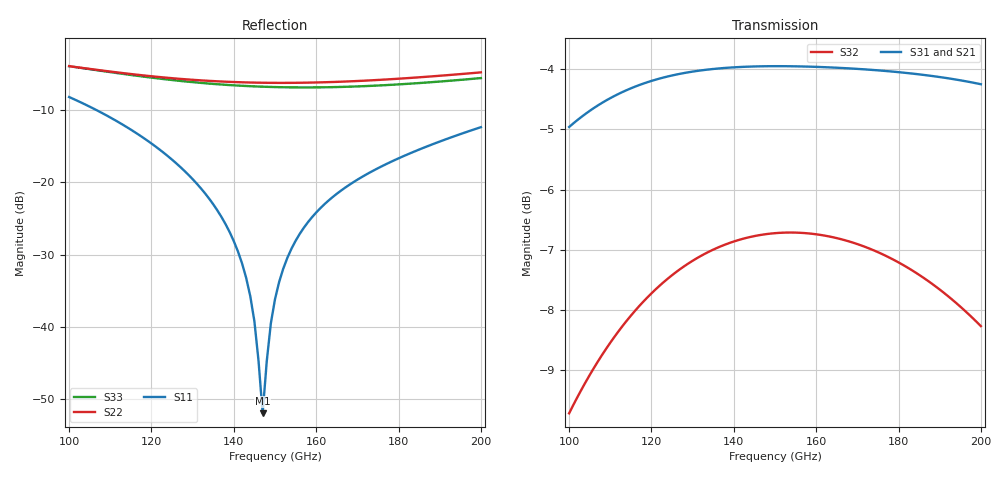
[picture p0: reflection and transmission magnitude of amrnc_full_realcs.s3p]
! Created with skrf 2.1.0 (http://scikit-rf.org).
# GHz S DB R 50.0
! Port[1] = P1
! Port[2] = P2
! Port[3] = P3
!freq dBS11 angS11 dBS12 angS12 dBS13 angS13
! dBS21 angS21 dBS22 angS22 dBS23 angS23
! dBS31 angS31 dBS32 angS32 dBS33 angS33
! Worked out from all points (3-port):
!   101 points, 100 GHz to 200 GHz, reference 50 ohm
!   strongest paths, dB at 100 GHz, 125 GHz, 150 GHz, 175 GHz, 200 GHz:
!     S31: -5.0, -4.1, -4.0, -4.0, -4.3
!     S21: -4.7, -4.0, -4.0, -4.2, -4.6
!     S32: -9.7, -7.4, -6.7, -7.0, -8.3
!   lowest |S11| = -52.0 dB at 147 GHz (marker M1), VSWR 1.01, Z = 50.2 - j0.0506 ohm
!   |S11| at or under -10 dB: 106.5 GHz to end of sweep
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100  -8.22 129.6  -4.73 -10.5  -4.96 165.9
     -4.73 -10.5  -3.95 60.1  -9.72 90.9
     -4.96 165.9  -9.72 90.9  -3.95 50.5
123  -15.94 99.0  -4.02 -45.1  -4.14 129.3
     -4.02 -45.1  -5.51 40.1  -7.54 56.9
     -4.14 129.3  -7.54 56.9  -5.74 27.4
137  -24.81 84.1  -3.94 -64.0  -3.99 109.3
     -3.94 -64.0  -6.07 29.9  -6.94 38.1
     -3.99 109.3  -6.94 38.1  -6.49 15.9
144  -35.77 72.4  -3.95 -72.9  -3.96 99.9
     -3.95 -72.9  -6.21 24.9  -6.79 29.2
     -3.96 99.9  -6.79 29.2  -6.72 10.6
147  -51.96 -11.5  -3.96 -76.7  -3.95 95.9
     -3.96 -76.7  -6.25 22.8  -6.75 25.4
     -3.95 95.9  -6.75 25.4  -6.79 8.3
148  -44.74 -75.5  -3.96 -77.9  -3.95 94.6
     -3.96 -77.9  -6.25 22.1  -6.74 24.1
     -3.95 94.6  -6.74 24.1  -6.81 7.6
150  -36.18 -93.3  -3.97 -80.4  -3.95 92.0
     -3.97 -80.4  -6.26 20.7  -6.72 21.7
     -3.95 92.0  -6.72 21.7  -6.84 6.1
155  -28.11 -101.9  -4.00 -86.5  -3.95 85.5
     -4.00 -86.5  -6.25 17.0  -6.72 15.6
     -3.95 85.5  -6.72 15.6  -6.89 2.3
164  -22.06 -108.4  -4.07 -97.4  -3.97 74.0
     -4.07 -97.4  -6.14 10.3  -6.79 4.7
     -3.97 74.0  -6.79 4.7  -6.85 -4.5
200  -12.39 -129.6  -4.63 -140.7  -4.25 28.6
     -4.63 -140.7  -4.81 -20.5  -8.27 -37.5
     -4.25 28.6  -8.27 -37.5  -5.60 -34.6
